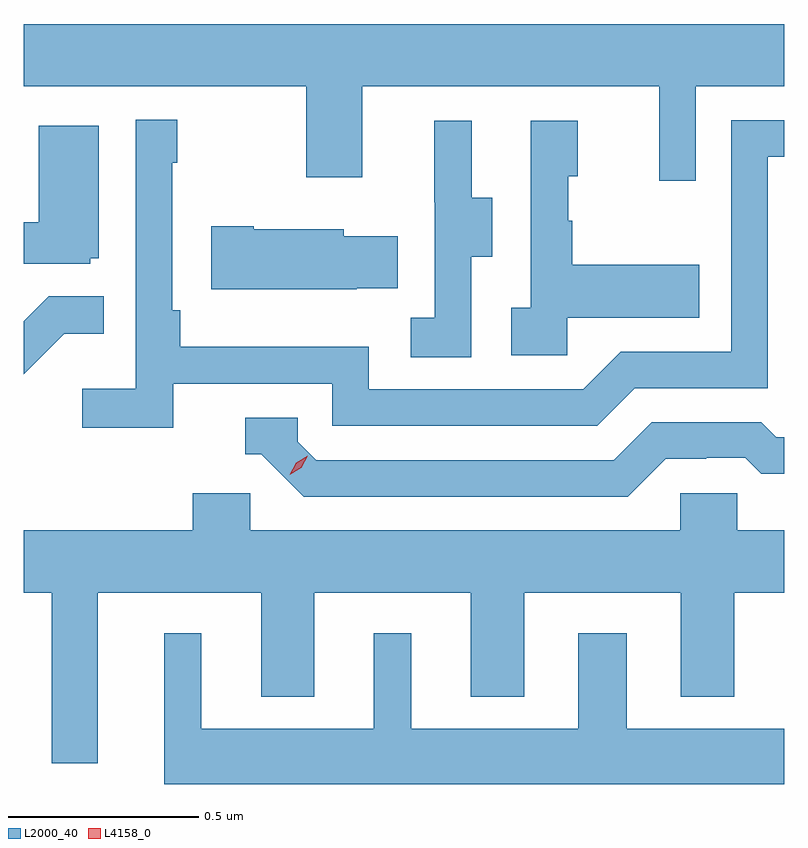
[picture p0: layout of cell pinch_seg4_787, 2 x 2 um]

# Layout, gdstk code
import gdstk
lib = gdstk.Library(unit=1e-6, precision=1e-09)
def P(c, l, *ps):  # polygons
    for p in ps: c.add(gdstk.Polygon(p, *l))
L2000_40 = (2000, 40)
L4158_0 = (4158, 0)

pinch_seg4_787 = lib.new_cell('pinch_seg4_787')
P(pinch_seg4_787, L2000_40, [(815.091,827.456),(815.323,827.456),(815.323,827.62),(813.323,827.62),(813.323,827.456),(814.066,827.456),(814.066,827.217),(814.213,827.217),(814.213,827.456),(814.994,827.456),(814.994,827.208),(815.091,827.208)],
  [(813.716,826.674),(814.134,826.674),(814.134,826.563),(814.831,826.563),(814.93,826.662),(815.28,826.662),(815.28,827.271),(815.323,827.271),(815.323,827.367),(815.184,827.367),(815.184,826.758),(814.893,826.758),(814.794,826.659),(814.23,826.659),(814.23,826.771),(813.734,826.771),(813.734,826.867),(813.714,826.867),(813.714,827.255),(813.727,827.255),(813.727,827.368),(813.618,827.368),(813.618,826.66),(813.477,826.66),(813.477,826.558),(813.716,826.558)],
  [(814.5,827.008),(814.555,827.008),(814.555,827.163),(814.501,827.163),(814.501,827.365),(814.403,827.365),(814.403,827.151),(814.404,827.151),(814.404,826.847),(814.341,826.847),(814.341,826.744),(814.5,826.744)],
  [(814.752,826.847),(815.099,826.847),(815.099,826.987),(814.765,826.987),(814.765,827.102),(814.755,827.102),(814.755,827.22),(814.78,827.22),(814.78,827.365),(814.656,827.365),(814.656,826.874),(814.605,826.874),(814.605,826.749),(814.752,826.749)],
  [(813.498,827.004),(813.52,827.004),(813.52,827.353),(813.362,827.353),(813.362,827.098),(813.323,827.098),(813.323,826.989),(813.498,826.989)],
  [(814.199,826.925),(814.307,826.925),(814.307,827.062),(814.164,827.062),(814.164,827.08),(813.928,827.08),(813.928,827.088),(813.816,827.088),(813.816,826.922),(814.199,826.922)],
  [(813.429,826.805),(813.533,826.805),(813.533,826.904),(813.389,826.904),(813.323,826.838),(813.323,826.699)],
  [(815.011,826.476),(815.118,826.476),(815.118,826.479),(815.221,826.479),(815.263,826.437),(815.323,826.437),(815.323,826.533),(815.302,826.533),(815.263,826.572),(814.974,826.572),(814.875,826.473),(814.092,826.473),(814.044,826.521),(814.044,826.584),(813.905,826.584),(813.905,826.488),(813.948,826.488),(814.059,826.377),(814.912,826.377)],
  [(813.517,826.124),(813.947,826.124),(813.947,825.851),(814.087,825.851),(814.087,826.124),(814.499,826.124),(814.499,825.851),(814.639,825.851),(814.639,826.124),(815.051,826.124),(815.051,825.851),(815.191,825.851),(815.191,826.124),(815.323,826.124),(815.323,826.288),(815.199,826.288),(815.199,826.386),(815.049,826.386),(815.049,826.288),(813.918,826.288),(813.918,826.386),(813.767,826.386),(813.767,826.288),(813.323,826.288),(813.323,826.124),(813.396,826.124),(813.396,825.675),(813.517,825.675)],
  [(815.323,825.766),(814.909,825.766),(814.909,826.018),(814.781,826.018),(814.781,825.766),(814.342,825.766),(814.342,826.018),(814.244,826.018),(814.244,825.766),(813.79,825.766),(813.79,826.018),(813.692,826.018),(813.692,825.621),(815.323,825.621)])
P(pinch_seg4_787, L4158_0, [(814.022,826.434),(814.022,826.434),(814.039,826.466),(814.07,826.485),(814.07,826.485),(814.07,826.485),(814.053,826.453),(814.023,826.434)])

lib.write_gds('pinch_seg4_787.gds')
